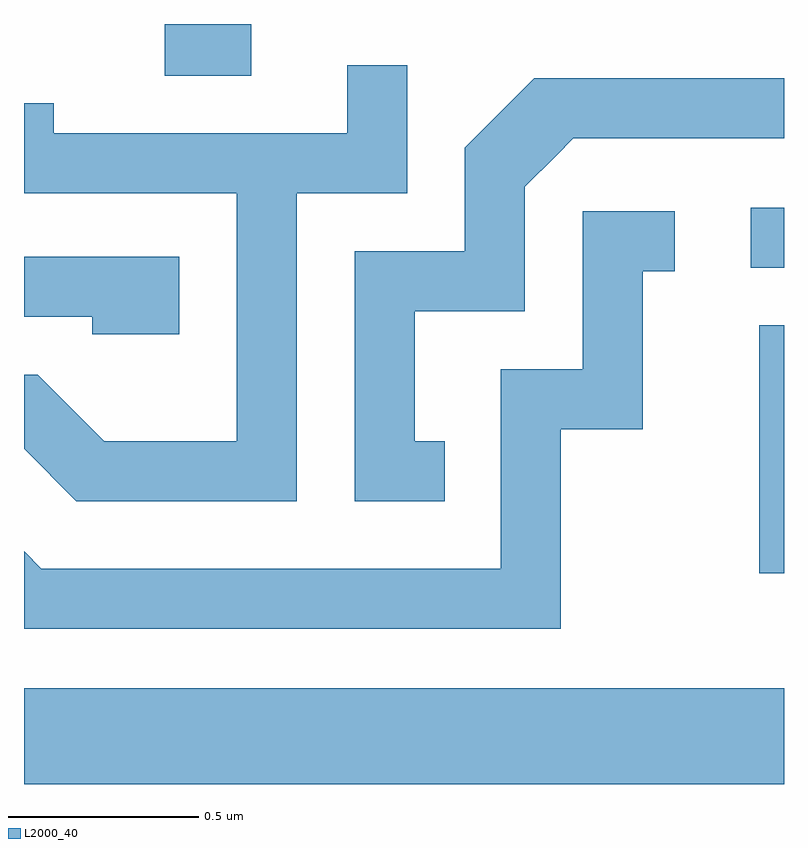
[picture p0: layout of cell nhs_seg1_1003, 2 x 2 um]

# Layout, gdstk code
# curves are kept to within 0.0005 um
import gdstk
lib = gdstk.Library(unit=1e-6, precision=1e-09)
def R(c, l, rs):  # rectangles x0, y0, x1, y1
    for r in rs: c.add(gdstk.rectangle(r[:2], r[2:], *l))
def P(c, l, *ps):  # polygons
    for p in ps: c.add(gdstk.Polygon(p, *l))
L2000_40 = (2000, 40)

nhs_seg1_1003 = lib.new_cell('nhs_seg1_1003')
R(nhs_seg1_1003, L2000_40, [(192.611,890.712,194.611,890.964), (194.546,891.266,194.611,891.919), (194.523,892.071,194.611,892.229), (192.981,892.576,193.209,892.712)])
P(nhs_seg1_1003, L2000_40, [(193.329,892.266),(193.619,892.266),(193.619,892.603),(193.461,892.603),(193.461,892.424),(192.689,892.424),(192.689,892.503),(192.611,892.503),(192.611,892.266),(193.171,892.266),(193.171,891.614),(192.822,891.614),(192.647,891.789),(192.611,891.789),(192.611,891.594),(192.749,891.456),(193.329,891.456)],
  [(193.718,891.614),(193.639,891.614),(193.639,891.956),(193.929,891.956),(193.929,892.284),(194.057,892.411),(194.611,892.411),(194.611,892.569),(193.954,892.569),(193.771,892.387),(193.771,892.114),(193.481,892.114),(193.481,891.456),(193.718,891.456)],
  [(194.024,891.646),(194.239,891.646),(194.239,892.061),(194.323,892.061),(194.323,892.219),(194.081,892.219),(194.081,891.804),(193.866,891.804),(193.866,891.279),(192.657,891.279),(192.611,891.325),(192.611,891.121),(194.024,891.121)],
  [(193.019,892.099),(192.611,892.099),(192.611,891.941),(192.791,891.941),(192.791,891.896),(193.019,891.896)])

lib.write_gds('nhs_seg1_1003.gds')
